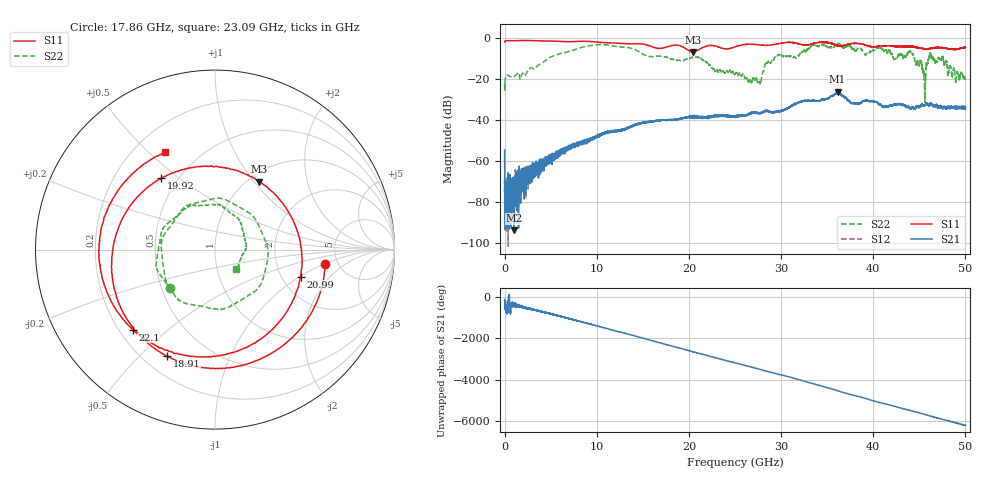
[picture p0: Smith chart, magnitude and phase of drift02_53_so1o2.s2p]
!Created with skrf (http://scikit-rf.org).
# Hz S RI R 50.0
!freq ReS11 ImS11 ReS21 ImS21 ReS12 ImS12 ReS22 ImS22
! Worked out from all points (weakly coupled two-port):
!   10001 points, 300 kHz to 50 GHz, reference 50 ohm
!   highest |S21| = -26.26 dB at 36.13 GHz (marker M1); lowest = -93.7 dB at 1.005 GHz (marker M2)
!   lowest |S11| = -6.9 dB at 20.42 GHz (marker M3), VSWR 2.64, Z = 56 + j53.1 ohm
!   |S11| at or under -10 dB: nowhere
!   |S22| runs from -31.4 to -2.7 dB; largest |S21 - S12| = 0.0048
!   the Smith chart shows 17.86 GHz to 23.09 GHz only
!   S11 on the Smith chart (normalised r, x): 17.86 GHz: 3.98, -1.00; 18.91 GHz: 0.29, -0.61; 19.92 GHz: 0.41, +0.43; 20.99 GHz: 2.53, -1.02; 22.1 GHz: 0.25, -0.38; 23.09 GHz: 0.33, +0.57
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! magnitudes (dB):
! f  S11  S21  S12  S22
! 300 kHz  -2.1  -54.6  -75.4  -22.0
! 255.3 MHz  -1.4  -71.0  -77.2  -18.2
! 1.005 GHz  -1.5  -93.7  -77.0  -19.0
! 8.335 GHz  -1.7  -50.4  -51.2  -4.7
! 16.67 GHz  -5.2  -40.2  -40.3  -9.0
! 17.86 GHz  -4.2  -40.0  -39.9  -9.6
! 18.91 GHz  -3.7  -39.6  -39.5  -10.8
! 19.92 GHz  -6.1  -38.6  -38.6  -9.9
! 20.42 GHz  -6.9  -38.1  -38.2  -9.8
! 20.99 GHz  -6.0  -38.6  -38.3  -9.3
! 22.1 GHz  -3.9  -38.8  -38.5  -12.5
! 23.09 GHz  -4.3  -38.1  -38.2  -15.8
! 25 GHz  -4.5  -38.3  -38.0  -17.6
! 27.62 GHz  -3.5  -36.8  -36.7  -21.6
! 29.54 GHz  -3.1  -35.9  -36.1  -8.8
! 33.34 GHz  -3.1  -30.5  -30.6  -3.8
! 36.13 GHz  -3.9  -26.3  -26.9  -3.1
! 41.67 GHz  -3.9  -33.2  -33.5  -5.8
! 44.13 GHz  -4.2  -34.4  -34.6  -7.0
! 45.5 GHz  -5.3  -32.9  -33.0  -17.7
! 46.27 GHz  -5.2  -31.9  -32.2  -9.0
! 50 GHz  -4.7  -34.3  -34.3  -19.7
